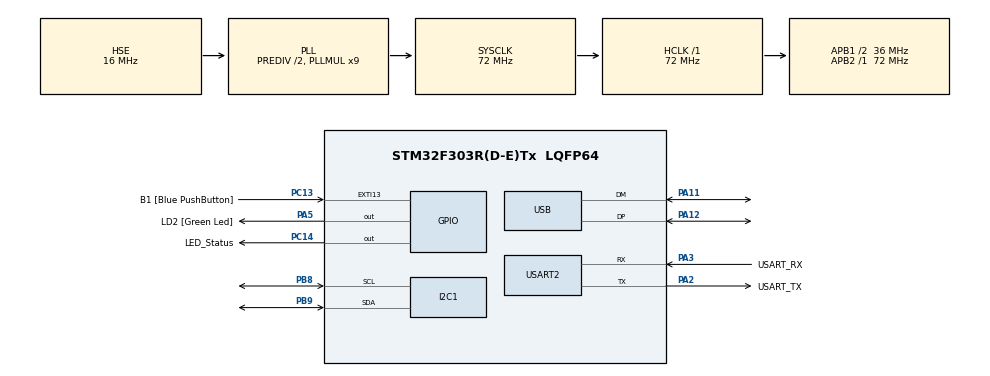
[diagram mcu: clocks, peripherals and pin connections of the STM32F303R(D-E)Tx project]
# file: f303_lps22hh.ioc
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Mcu.Family=STM32F3
Mcu.Name=STM32F303R(D-E)Tx
Mcu.Package=LQFP64
NVIC.PriorityGroup=NVIC_PRIORITYGROUP_0
NVIC.USB_LP_CAN_RX0_IRQn=true\:0\:0\:false\:false\:true\:false\:true
PA11.Mode=Device
PA11.Signal=USB_DM
PA12.Mode=Device
PA12.Signal=USB_DP
PA13.Mode=Trace_Asynchronous_SW
PA13.Signal=SYS_JTMS-SWDIO
PA14.Mode=Trace_Asynchronous_SW
PA14.Signal=SYS_JTCK-SWCLK
PA2.GPIO_Label=USART_TX
PA2.GPIO_Mode=GPIO_MODE_AF_PP
PA2.GPIO_PuPd=GPIO_NOPULL
PA2.GPIO_Speed=GPIO_SPEED_FREQ_LOW
PA2.Mode=Asynchronous
PA2.Signal=USART2_TX
PA3.GPIO_Label=USART_RX
PA3.GPIO_Mode=GPIO_MODE_AF_PP
PA3.GPIO_PuPd=GPIO_NOPULL
PA3.GPIO_Speed=GPIO_SPEED_FREQ_LOW
PA3.Mode=Asynchronous
PA3.Signal=USART2_RX
PA5.GPIO_Label=LD2 [Green Led]
PA5.GPIO_Mode=GPIO_MODE_OUTPUT_PP
PA5.GPIO_PuPd=GPIO_NOPULL
PA5.GPIO_Speed=GPIO_SPEED_FREQ_LOW
PA5.Signal=GPIO_Output
PB3.Mode=Trace_Asynchronous_SW
PB3.Signal=SYS_JTDO-TRACESWO
PB8.Mode=I2C
PB8.Signal=I2C1_SCL
PB9.Mode=I2C
PB9.Signal=I2C1_SDA
PC13.GPIO_Label=B1 [Blue PushButton]
PC13.GPIO_ModeDefaultEXTI=GPIO_MODE_IT_FALLING
PC13.Signal=GPXTI13
PC14-OSC32_IN.GPIO_Label=LED_Status
PC14-OSC32_IN.Signal=GPIO_Output
PF0-OSC_IN.Mode=HSE-External-Oscillator
PF0-OSC_IN.Signal=RCC_OSC_IN
PF1-OSC_OUT.Mode=HSE-External-Oscillator
PF1-OSC_OUT.Signal=RCC_OSC_OUT
ProjectManager.HeapSize=0x200
ProjectManager.StackSize=0x400
ProjectManager.TargetToolchain=STM32CubeIDE
RCC.AHBFreq_Value=72000000
RCC.APB1CLKDivider=RCC_HCLK_DIV2
RCC.APB1Freq_Value=36000000
RCC.APB1TimFreq_Value=72000000
RCC.APB2Freq_Value=72000000
RCC.APB2TimFreq_Value=72000000
RCC.CortexFreq_Value=72000000
RCC.HCLKFreq_Value=72000000
RCC.HSE_VALUE=16000000
RCC.HSI_VALUE=8000000
RCC.PLLDivider=RCC_PREDIV_DIV2
RCC.PLLM=8
RCC.PLLMUL=RCC_PLL_MUL9
RCC.PLLN=336
RCC.PLLP=RCC_PLLP_DIV4
RCC.PLLQ=7
RCC.PRESCALERUSB=RCC_USBCLKSOURCE_PLL_DIV1_5
RCC.RCC_PLLsource_Clock_Source_FROM_HSE=RCC_HSE_PREDIV_DIV2
RCC.SYSCLKFreq_VALUE=72000000
RCC.SYSCLKSourceVirtual=RCC_SYSCLKSOURCE_PLLCLK
RCC.USBFreq_Value=48000000
USART2.VirtualMode-Asynchronous=VM_ASYNC
USB_DEVICE.CLASS_NAME_FS=CDC
USB_DEVICE.USBD_SELF_POWERED=0
USB_DEVICE.VirtualMode=Cdc
USB_DEVICE.VirtualModeFS=Cdc_FS
VP_USB_DEVICE_VS_USB_DEVICE_CDC_FS.Mode=CDC_FS
board=NUCLEO-F303RE

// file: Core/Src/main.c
/* USER CODE BEGIN Header */
/**
  ******************************************************************************
  * @file           : main.c
  * @brief          : Main program body
  ******************************************************************************
  * @attention
  *
  * <h2><center>&copy; Copyright (c) 2021 STMicroelectronics.
  * All rights reserved.</center></h2>
  *
  * This software component is licensed by ST under BSD 3-Clause license,
  * the "License"; You may not use this file except in compliance with the
  * License. You may obtain a copy of the License at:
  *                        opensource.org/licenses/BSD-3-Clause
  *
  ******************************************************************************
  */
/* USER CODE END Header */
#include "main.h"
#include "usb_device.h"

/* USER CODE BEGIN Includes */
#include "lps22hh_reg.h"
#include <stdio.h>
#include <string.h>
#include "usbd_cdc_if.h"

/* USER CODE END Includes */

/* USER CODE BEGIN PD */

#define		TX_BUF_DIM		1000

/* USER CODE END PD */

I2C_HandleTypeDef hi2c1;

UART_HandleTypeDef huart2;

/* USER CODE BEGIN PV */

char tx_buffer[TX_BUF_DIM];

/* USER CODE END PV */

void SystemClock_Config(void);
static void MX_GPIO_Init(void);
static void MX_USART2_UART_Init(void);
static void MX_I2C1_Init(void);

/* USER CODE BEGIN 0 */

extern stmdev_ctx_t lps22hh_init(void);
extern void get_pressure(stmdev_ctx_t dev_ctx,  float *pressure);
extern void get_temperature(stmdev_ctx_t dev_ctx,  float *temperature);

/* USER CODE END 0 */

int main(void)
{

  /* MCU Configuration--------------------------------------------------------*/

  /* Reset of all peripherals, Initializes the Flash interface and the Systick. */
  HAL_Init();

  /* Configure the system clock */
  SystemClock_Config();

  /* Initialize all configured peripherals */
  MX_GPIO_Init();
  MX_USART2_UART_Init();
  MX_I2C1_Init();
  MX_USB_DEVICE_Init();
  /* USER CODE BEGIN 2 */

  stmdev_ctx_t dev_ctx_lps = lps22hh_init();
  float pressure = 0;
  float temperature = 0;

  /* USER CODE END 2 */

  /* Infinite loop */
  /* USER CODE BEGIN WHILE */
  while (1)
  {

	get_pressure(dev_ctx_lps, &pressure);
	get_temperature(dev_ctx_lps,  &temperature);

	sprintf((char *)tx_buffer, "Pressure [hPa]:%hu\t Temperature [degC]:%hu\r\n", (uint16_t)pressure, (uint16_t)temperature);
	HAL_UART_Transmit(&huart2, tx_buffer, strlen((char const *)tx_buffer), 1000);

	HAL_Delay(1000);

    /* USER CODE END WHILE */

  }
}

void SystemClock_Config(void)
{
  RCC_OscInitTypeDef RCC_OscInitStruct = {0};
  RCC_ClkInitTypeDef RCC_ClkInitStruct = {0};
  RCC_PeriphCLKInitTypeDef PeriphClkInit = {0};

  /** Initializes the RCC Oscillators according to the specified parameters
  * in the RCC_OscInitTypeDef structure.
  */
  RCC_OscInitStruct.OscillatorType = RCC_OSCILLATORTYPE_HSI|RCC_OSCILLATORTYPE_HSE;
  RCC_OscInitStruct.HSEState = RCC_HSE_ON;
  RCC_OscInitStruct.HSIState = RCC_HSI_ON;
  RCC_OscInitStruct.HSICalibrationValue = RCC_HSICALIBRATION_DEFAULT;
  RCC_OscInitStruct.PLL.PLLState = RCC_PLL_ON;
  RCC_OscInitStruct.PLL.PLLSource = RCC_PLLSOURCE_HSE;
  RCC_OscInitStruct.PLL.PLLMUL = RCC_PLL_MUL9;
  RCC_OscInitStruct.PLL.PREDIV = RCC_PREDIV_DIV2;
  if (HAL_RCC_OscConfig(&RCC_OscInitStruct) != HAL_OK)
  {
    Error_Handler();
  }
  /** Initializes the CPU, AHB and APB buses clocks
  */
  RCC_ClkInitStruct.ClockType = RCC_CLOCKTYPE_HCLK|RCC_CLOCKTYPE_SYSCLK
                              |RCC_CLOCKTYPE_PCLK1|RCC_CLOCKTYPE_PCLK2;
  RCC_ClkInitStruct.SYSCLKSource = RCC_SYSCLKSOURCE_PLLCLK;
  RCC_ClkInitStruct.AHBCLKDivider = RCC_SYSCLK_DIV1;
  RCC_ClkInitStruct.APB1CLKDivider = RCC_HCLK_DIV2;
  RCC_ClkInitStruct.APB2CLKDivider = RCC_HCLK_DIV1;

  if (HAL_RCC_ClockConfig(&RCC_ClkInitStruct, FLASH_LATENCY_2) != HAL_OK)
  {
    Error_Handler();
  }
  PeriphClkInit.PeriphClockSelection = RCC_PERIPHCLK_USB|RCC_PERIPHCLK_USART2
                              |RCC_PERIPHCLK_I2C1;
  PeriphClkInit.Usart2ClockSelection = RCC_USART2CLKSOURCE_PCLK1;
  PeriphClkInit.I2c1ClockSelection = RCC_I2C1CLKSOURCE_HSI;
  PeriphClkInit.USBClockSelection = RCC_USBCLKSOURCE_PLL_DIV1_5;
  if (HAL_RCCEx_PeriphCLKConfig(&PeriphClkInit) != HAL_OK)
  {
    Error_Handler();
  }
}

static void MX_I2C1_Init(void)
{

  hi2c1.Instance = I2C1;
  hi2c1.Init.Timing = 0x2000090E;
  hi2c1.Init.OwnAddress1 = 0;
  hi2c1.Init.AddressingMode = I2C_ADDRESSINGMODE_7BIT;
  hi2c1.Init.DualAddressMode = I2C_DUALADDRESS_DISABLE;
  hi2c1.Init.OwnAddress2 = 0;
  hi2c1.Init.OwnAddress2Masks = I2C_OA2_NOMASK;
  hi2c1.Init.GeneralCallMode = I2C_GENERALCALL_DISABLE;
  hi2c1.Init.NoStretchMode = I2C_NOSTRETCH_DISABLE;
  if (HAL_I2C_Init(&hi2c1) != HAL_OK)
  {
    Error_Handler();
  }
  /** Configure Analogue filter
  */
  if (HAL_I2CEx_ConfigAnalogFilter(&hi2c1, I2C_ANALOGFILTER_ENABLE) != HAL_OK)
  {
    Error_Handler();
  }
  /** Configure Digital filter
  */
  if (HAL_I2CEx_ConfigDigitalFilter(&hi2c1, 0) != HAL_OK)
  {
    Error_Handler();
  }

}

static void MX_USART2_UART_Init(void)
{

  huart2.Instance = USART2;
  huart2.Init.BaudRate = 38400;
  huart2.Init.WordLength = UART_WORDLENGTH_8B;
  huart2.Init.StopBits = UART_STOPBITS_1;
  huart2.Init.Parity = UART_PARITY_NONE;
  huart2.Init.Mode = UART_MODE_TX_RX;
  huart2.Init.HwFlowCtl = UART_HWCONTROL_NONE;
  huart2.Init.OverSampling = UART_OVERSAMPLING_16;
  huart2.Init.OneBitSampling = UART_ONE_BIT_SAMPLE_DISABLE;
  huart2.AdvancedInit.AdvFeatureInit = UART_ADVFEATURE_NO_INIT;
  if (HAL_UART_Init(&huart2) != HAL_OK)
  {
    Error_Handler();
  }

}

static void MX_GPIO_Init(void)
{
  GPIO_InitTypeDef GPIO_InitStruct = {0};

  /* GPIO Ports Clock Enable */
  __HAL_RCC_GPIOC_CLK_ENABLE();
  __HAL_RCC_GPIOF_CLK_ENABLE();
  __HAL_RCC_GPIOA_CLK_ENABLE();
  __HAL_RCC_GPIOB_CLK_ENABLE();

  /*Configure GPIO pin Output Level */
  HAL_GPIO_WritePin(LED_Status_GPIO_Port, LED_Status_Pin, GPIO_PIN_RESET);

  /*Configure GPIO pin Output Level */
  HAL_GPIO_WritePin(LD2_GPIO_Port, LD2_Pin, GPIO_PIN_RESET);

  /*Configure GPIO pin : B1_Pin */
  GPIO_InitStruct.Pin = B1_Pin;
  GPIO_InitStruct.Mode = GPIO_MODE_IT_FALLING;
  GPIO_InitStruct.Pull = GPIO_NOPULL;
  HAL_GPIO_Init(B1_GPIO_Port, &GPIO_InitStruct);

  /*Configure GPIO pin : LED_Status_Pin */
  GPIO_InitStruct.Pin = LED_Status_Pin;
  GPIO_InitStruct.Mode = GPIO_MODE_OUTPUT_PP;
  GPIO_InitStruct.Pull = GPIO_NOPULL;
  GPIO_InitStruct.Speed = GPIO_SPEED_FREQ_LOW;
  HAL_GPIO_Init(LED_Status_GPIO_Port, &GPIO_InitStruct);

  /*Configure GPIO pin : LD2_Pin */
  GPIO_InitStruct.Pin = LD2_Pin;
  GPIO_InitStruct.Mode = GPIO_MODE_OUTPUT_PP;
  GPIO_InitStruct.Pull = GPIO_NOPULL;
  GPIO_InitStruct.Speed = GPIO_SPEED_FREQ_LOW;
  HAL_GPIO_Init(LD2_GPIO_Port, &GPIO_InitStruct);

}

void Error_Handler(void)
{
}

/************************ (C) COPYRIGHT STMicroelectronics *****END OF FILE****/
